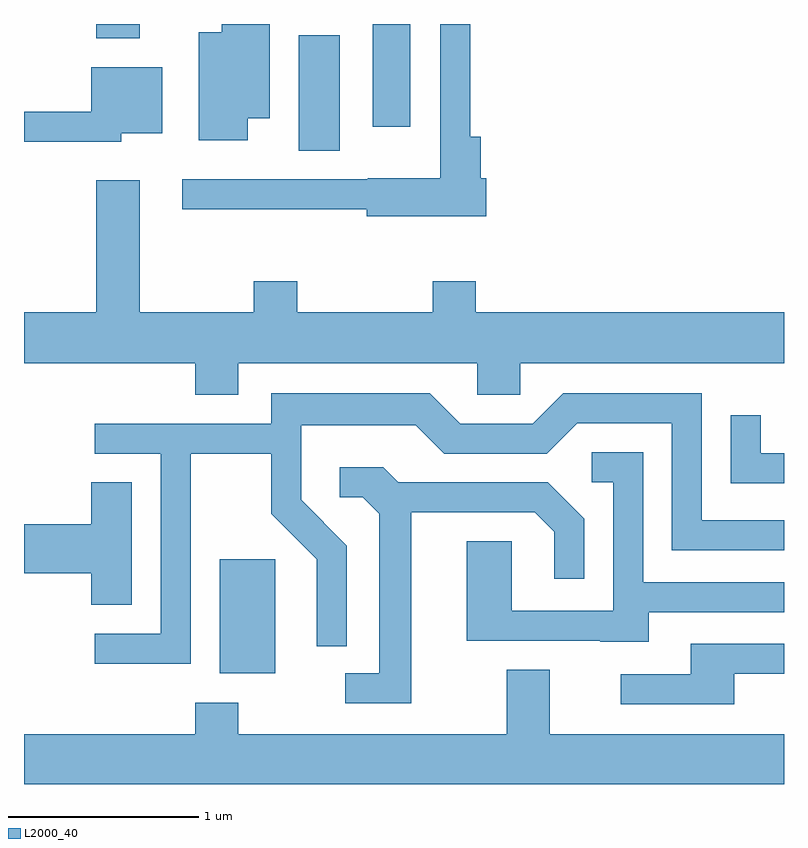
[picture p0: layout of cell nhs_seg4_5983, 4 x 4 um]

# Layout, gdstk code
import gdstk
lib = gdstk.Library(unit=1e-6, precision=1e-09)
def R(c, l, rs):  # rectangles x0, y0, x1, y1
    for r in rs: c.add(gdstk.rectangle(r[:2], r[2:], *l))
def P(c, l, *ps):  # polygons
    for p in ps: c.add(gdstk.Polygon(p, *l))
L2000_40 = (2000, 40)

nhs_seg4_5983 = lib.new_cell('nhs_seg4_5983')
R(nhs_seg4_5983, L2000_40, [(360.641,1388.566,360.934,1389.164), (361.056,1391.316,361.274,1391.924), (361.446,1391.441,361.644,1391.982), (359.991,1391.906,360.219,1391.982)])
P(nhs_seg4_5983, L2000_40, [(360.789,1391.486),(360.904,1391.486),(360.904,1391.982),(360.651,1391.982),(360.651,1391.939),(360.531,1391.939),(360.531,1391.371),(360.789,1391.371)],
  [(362.044,1391.169),(362.014,1391.169),(362.014,1391.389),(361.959,1391.389),(361.959,1391.982),(361.801,1391.982),(361.801,1391.169),(361.42,1391.169),(361.42,1391.164),(360.443,1391.164),(360.443,1391.006),(361.416,1391.006),(361.416,1390.971),(362.044,1390.971)],
  [(360.124,1391.406),(360.339,1391.406),(360.339,1391.754),(359.966,1391.754),(359.966,1391.519),(359.611,1391.519),(359.611,1391.361),(360.124,1391.361)],
  [(360.739,1390.196),(361.996,1390.196),(361.996,1390.031),(362.224,1390.031),(362.224,1390.196),(363.611,1390.196),(363.611,1390.464),(361.989,1390.464),(361.989,1390.629),(361.761,1390.629),(361.761,1390.464),(361.049,1390.464),(361.049,1390.629),(360.821,1390.629),(360.821,1390.464),(360.219,1390.464),(360.219,1391.159),(359.991,1391.159),(359.991,1390.464),(359.611,1390.464),(359.611,1390.196),(360.511,1390.196),(360.511,1390.031),(360.739,1390.031)],
  [(360.489,1389.721),(360.911,1389.721),(360.911,1389.404),(361.151,1389.164),(361.151,1388.708),(361.309,1388.708),(361.309,1389.237),(361.069,1389.477),(361.069,1389.871),(361.674,1389.871),(361.824,1389.721),(362.362,1389.721),(362.522,1389.881),(363.021,1389.881),(363.021,1389.211),(363.611,1389.211),(363.611,1389.369),(363.179,1389.369),(363.179,1390.039),(362.449,1390.039),(362.289,1389.879),(361.907,1389.879),(361.747,1390.039),(360.911,1390.039),(360.911,1389.879),(359.983,1389.879),(359.983,1389.721),(360.331,1389.721),(360.331,1388.774),(359.983,1388.774),(359.983,1388.616),(360.489,1388.616)],
  [(363.611,1389.724),(363.489,1389.724),(363.489,1389.923),(363.331,1389.923),(363.331,1389.566),(363.611,1389.566)],
  [(362.899,1388.886),(363.611,1388.886),(363.611,1389.044),(362.869,1389.044),(362.869,1389.729),(362.598,1389.729),(362.598,1389.571),(362.711,1389.571),(362.711,1388.894),(362.179,1388.894),(362.179,1389.259),(361.941,1389.259),(361.941,1388.736),(362.645,1388.736),(362.645,1388.731),(362.899,1388.731)],
  [(361.649,1389.411),(362.299,1389.411),(362.401,1389.309),(362.401,1389.063),(362.559,1389.063),(362.559,1389.377),(362.367,1389.569),(361.582,1389.569),(361.502,1389.649),(361.273,1389.649),(361.273,1389.491),(361.394,1389.491),(361.481,1389.404),(361.481,1388.564),(361.303,1388.564),(361.303,1388.406),(361.649,1388.406)],
  [(360.179,1389.569),(359.966,1389.569),(359.966,1389.349),(359.611,1389.349),(359.611,1389.091),(359.966,1389.091),(359.966,1388.926),(360.179,1388.926)],
  [(363.349,1388.561),(363.611,1388.561),(363.611,1388.719),(363.121,1388.719),(363.121,1388.559),(362.753,1388.559),(362.753,1388.401),(363.349,1388.401)],
  [(363.611,1388.244),(362.379,1388.244),(362.379,1388.584),(362.151,1388.584),(362.151,1388.244),(360.739,1388.244),(360.739,1388.409),(360.511,1388.409),(360.511,1388.244),(359.611,1388.244),(359.611,1387.982),(363.611,1387.982)])

lib.write_gds('nhs_seg4_5983.gds')
